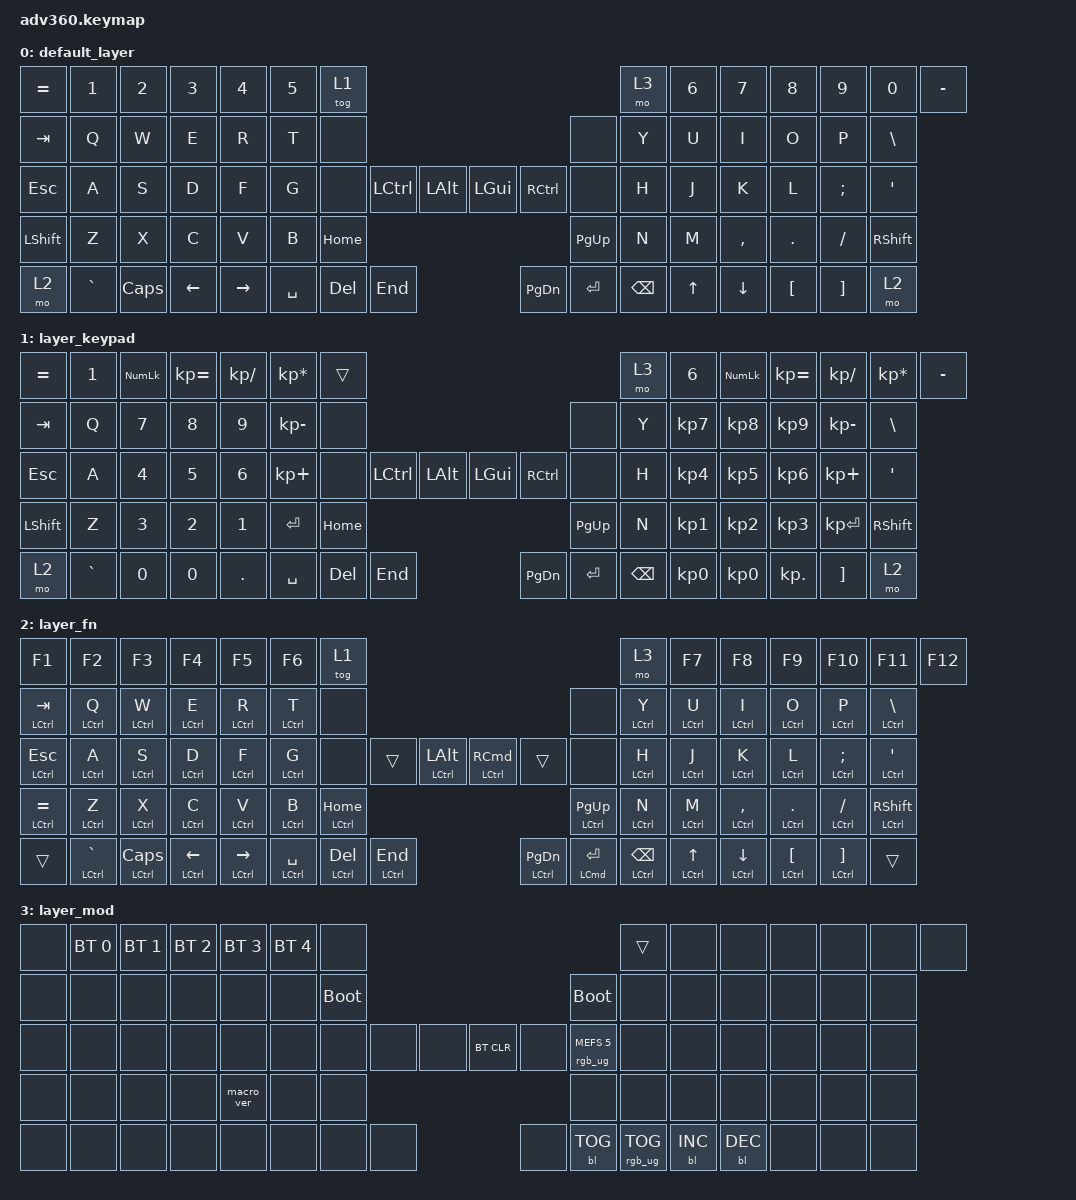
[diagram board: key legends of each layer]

/*
 * Copyright (c) 2020 The ZMK Contributors
 *
 * SPDX-License-Identifier: MIT
 */


/* THIS FILE WAS GENERATED!
 *
 * This file was generated automatically. You may or may not want to
 * edit it directly.
 */

#include <behaviors.dtsi>
#include <dt-bindings/zmk/keys.h>
#include <dt-bindings/zmk/bt.h>
#include <dt-bindings/zmk/rgb.h>
#include <dt-bindings/zmk/backlight.h>

/ {
  behaviors {
    #include "macros.dtsi"
    #include "version.dtsi"

    hm: homerow_mods {
        compatible = "zmk,behavior-hold-tap";
        label = "HOMEROW_MODS";
        #binding-cells = <2>;
        tapping-term-ms = <200>;
        quick_tap_ms = <175>;
        flavor = "tap-preferred";
        bindings = <&kp>, <&kp>;
    };
  };

    keymap {
        compatible = "zmk,keymap";


        default_layer {
            bindings = <
 &kp EQUAL     &kp N1    &kp N2    &kp N3     &kp N4  &kp N5               &tog 1                                                                     &mo 3  &kp N6  &kp N7     &kp N8    &kp N9    &kp N0  &kp MINUS
   &kp TAB      &kp Q     &kp W     &kp E      &kp R   &kp T                &none                                                                     &none   &kp Y   &kp U      &kp I     &kp O     &kp P   &kp BSLH
   &kp ESC      &kp A     &kp S     &kp D      &kp F   &kp G                &none  &kp LCTRL  &kp LALT                   &kp LGUI  &kp RCTRL          &none   &kp H   &kp J      &kp K     &kp L  &kp SEMI    &kp SQT
 &kp LSHFT      &kp Z     &kp X     &kp C      &kp V   &kp B                                  &kp HOME                  &kp PG_UP                             &kp N   &kp M  &kp COMMA   &kp DOT  &kp FSLH  &kp RSHFT
     &mo 2  &kp GRAVE  &kp CAPS  &kp LEFT  &kp RIGHT                    &kp SPACE    &kp DEL   &kp END                  &kp PG_DN  &kp ENTER  &kp BACKSPACE          &kp UP   &kp DOWN  &kp LBKT  &kp RBKT      &mo 2
            >;
        };

        layer_keypad {
            bindings = <
 &kp EQUAL     &kp N1    &kp KP_NUM  &kp KP_EQUAL  &kp KP_SLASH  &kp KP_MULTIPLY               &trans                                                                     &mo 3  &kp N6       &kp KP_NUM     &kp KP_EQUAL  &kp KP_DIVIDE  &kp KP_MULTIPLY  &kp MINUS
   &kp TAB      &kp Q  &kp NUMBER_7  &kp NUMBER_8  &kp NUMBER_9     &kp KP_MINUS                &none                                                                     &none   &kp Y        &kp KP_N7        &kp KP_N8      &kp KP_N9     &kp KP_MINUS   &kp BSLH
   &kp ESC      &kp A  &kp NUMBER_4  &kp NUMBER_5  &kp NUMBER_6      &kp KP_PLUS                &none  &kp LCTRL  &kp LALT                   &kp LGUI  &kp RCTRL          &none   &kp H        &kp KP_N4        &kp KP_N5      &kp KP_N6      &kp KP_PLUS    &kp SQT
 &kp LSHFT      &kp Z  &kp NUMBER_3  &kp NUMBER_2  &kp NUMBER_1        &kp ENTER                                  &kp HOME                  &kp PG_UP                             &kp N        &kp KP_N1        &kp KP_N2      &kp KP_N3     &kp KP_ENTER  &kp RSHFT
     &mo 2  &kp GRAVE  &kp NUMBER_0  &kp NUMBER_0       &kp DOT                             &kp SPACE    &kp DEL   &kp END                  &kp PG_DN  &kp ENTER  &kp BACKSPACE          &kp KP_NUMBER_0  &kp KP_NUMBER_0     &kp KP_DOT         &kp RBKT      &mo 2
            >;
        };

        layer_fn {
            bindings = <
                 &kp F1                  &kp F2                 &kp F3                 &kp F4                  &kp F5              &kp F6                            &tog 1                                                                                                                                               &mo 3              &kp F7               &kp F8                  &kp F9                        &kp F10                         &kp F11                       &kp F12
   &mt LEFT_CONTROL TAB      &mt LEFT_CONTROL Q     &mt LEFT_CONTROL W     &mt LEFT_CONTROL E      &mt LEFT_CONTROL R  &mt LEFT_CONTROL T                             &none                                                                                                                                               &none  &mt LEFT_CONTROL Y   &mt LEFT_CONTROL U      &mt LEFT_CONTROL I             &mt LEFT_CONTROL O              &mt LEFT_CONTROL P    &mt LEFT_CONTROL BACKSLASH
   &mt LEFT_CONTROL ESC      &mt LEFT_CONTROL A     &mt LEFT_CONTROL S     &mt LEFT_CONTROL D      &mt LEFT_CONTROL F  &mt LEFT_CONTROL G                             &none                   &trans  &mt LEFT_CONTROL LALT                  &mt LEFT_CONTROL RIGHT_COMMAND                  &trans                       &none  &mt LEFT_CONTROL H   &mt LEFT_CONTROL J      &mt LEFT_CONTROL K             &mt LEFT_CONTROL L      &mt LEFT_CONTROL SEMICOLON          &mt LEFT_CONTROL SQT
 &mt LEFT_CONTROL EQUAL      &mt LEFT_CONTROL Z     &mt LEFT_CONTROL X     &mt LEFT_CONTROL C      &mt LEFT_CONTROL V  &mt LEFT_CONTROL B                                                             &mt LEFT_CONTROL HOME                        &mt LEFT_CONTROL PAGE_UP                                                      &mt LEFT_CONTROL N   &mt LEFT_CONTROL M  &mt LEFT_CONTROL COMMA           &mt LEFT_CONTROL DOT          &mt LEFT_CONTROL SLASH  &mt LEFT_CONTROL RIGHT_SHIFT
                 &trans  &mt LEFT_CONTROL GRAVE  &mt LEFT_CONTROL CAPS  &mt LEFT_CONTROL LEFT  &mt LEFT_CONTROL RIGHT                                &mt LEFT_CONTROL SPACE  &mt LEFT_CONTROL DELETE   &mt LEFT_CONTROL END                      &mt LEFT_CONTROL PAGE_DOWN  &mt LEFT_COMMAND ENTER  &mt LEFT_CONTROL BACKSPACE                      &mt LEFT_CONTROL UP   &mt LEFT_CONTROL DOWN  &mt LEFT_CONTROL LEFT_BRACKET  &mt LEFT_CONTROL RIGHT_BRACKET                        &trans
            >;
        };

        layer_mod {
            bindings = <
  &none  &bt BT_SEL 0  &bt BT_SEL 1  &bt BT_SEL 2  &bt BT_SEL 3  &bt BT_SEL 4                  &none                                                                          &trans   &none       &none       &none   &none   &none   &none
  &none         &none         &none         &none         &none         &none            &bootloader                                                                     &bootloader   &none       &none       &none   &none   &none   &none
  &none         &none         &none         &none         &none         &none                  &none   &none   &none                  &bt BT_CLR       &none  &rgb_ug RGB_MEFS_CMD 5   &none       &none       &none   &none   &none   &none
  &none         &none         &none         &none    &macro_ver         &none                                  &none                       &none                                       &none       &none       &none   &none   &none   &none
  &none         &none         &none         &none         &none                                &none   &none   &none                       &none  &bl BL_TOG         &rgb_ug RGB_TOG          &bl BL_INC  &bl BL_DEC   &none   &none   &none
            >;
        };

    };
};
